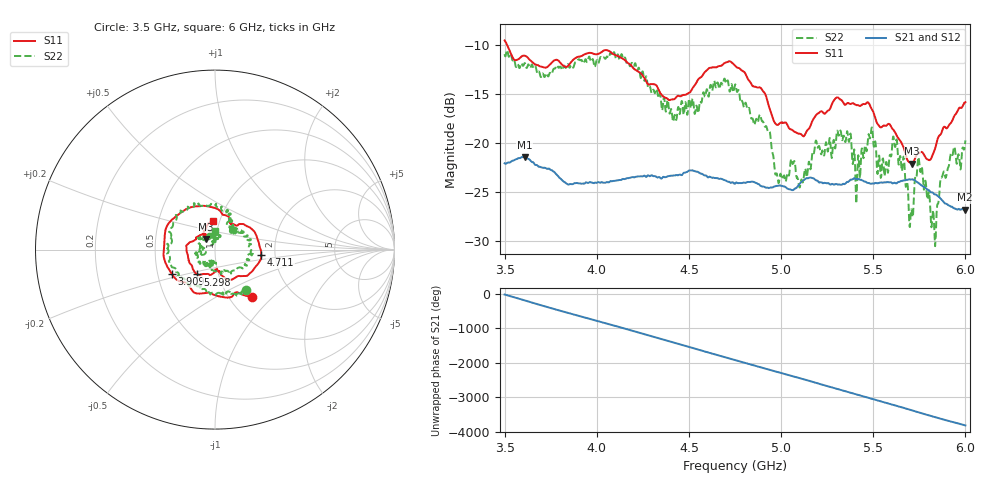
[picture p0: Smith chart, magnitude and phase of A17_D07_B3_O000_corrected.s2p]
! Created with skrf 1.9.0 (http://scikit-rf.org).
# Hz S RI R 50.0
!freq ReS11 ImS11 ReS21 ImS21 ReS12 ImS12 ReS22 ImS22
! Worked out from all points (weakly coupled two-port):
!   1601 points, 3.5 GHz to 6 GHz, reference 50 ohm
!   highest |S21| = -21.42 dB at 3.609 GHz (marker M1); lowest = -26.8 dB at 5.998 GHz (marker M2)
!   lowest |S11| = -22.1 dB at 5.711 GHz (marker M3), VSWR 1.17, Z = 44.8 + j5.38 ohm
!   |S11| at or under -10 dB: 3.514 GHz to end of sweep
!   |S22| runs from -30.5 to -10.5 dB; largest |S21 - S12| = 0.00098
!   S11 on the Smith chart (normalised r, x): 3.5 GHz: 1.27, -0.75; 3.909 GHz: 0.59, -0.17; 4.711 GHz: 1.69, -0.12; 5.298 GHz: 0.79, -0.23; 6 GHz: 0.93, +0.31
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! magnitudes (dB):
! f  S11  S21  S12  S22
! 3.5 GHz  -9.5  -22.1  -22.0  -10.9
! 3.609 GHz  -11.1  -21.4  -21.4  -11.8
! 3.909 GHz  -11.2  -24.1  -24.1  -11.5
! 3.917 GHz  -11.1  -24.1  -24.1  -11.5
! 4.334 GHz  -14.5  -23.5  -23.4  -15.4
! 4.422 GHz  -15.5  -23.3  -23.3  -17.2
! 4.711 GHz  -11.7  -23.9  -23.9  -13.6
! 4.75 GHz  -12.1  -24.1  -24.1  -14.1
! 4.93 GHz  -16.0  -24.6  -24.5  -18.8
! 4.98 GHz  -18.2  -24.4  -24.3  -23.4
! 5.167 GHz  -17.8  -23.6  -23.5  -21.4
! 5.298 GHz  -15.4  -24.2  -24.1  -19.7
! 5.416 GHz  -16.1  -23.7  -23.8  -22.2
! 5.484 GHz  -16.3  -24.1  -24.1  -19.4
! 5.584 GHz  -18.0  -24.0  -24.0  -22.2
! 5.619 GHz  -18.9  -24.1  -24.1  -20.4
! 5.711 GHz  -22.1  -23.7  -23.7  -27.2
! 5.753 GHz  -21.0  -24.2  -24.2  -22.6
! 5.828 GHz  -20.9  -25.2  -25.1  -27.5
! 5.875 GHz  -18.7  -25.9  -25.8  -23.4
! 5.998 GHz  -15.8  -26.8  -26.7  -20.0
! 6 GHz  -15.8  -26.8  -26.8  -19.7
